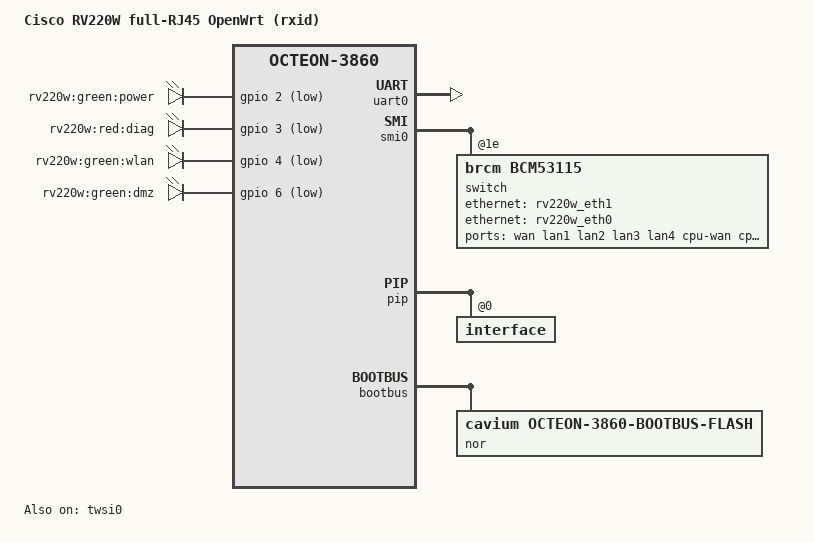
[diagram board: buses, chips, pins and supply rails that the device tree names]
// SPDX-License-Identifier: GPL-2.0-only
/*
 * Cisco RV220W production-oriented full-RJ45 device tree.
 *
 * Hardware-proven topology:
 *   BCM53115 port 0      -> WAN external PHY0
 *   BCM53115 port 5      -> Octeon eth1 WAN conduit
 *   BCM53115 ports 1-4   -> LAN1-LAN4
 *   BCM53115 port 8      -> Octeon eth0 LAN conduit
 *
 * The Octeon MAC-to-switch connections are board-internal fixed 1 Gbit/s
 * links.  External carrier remains reported by the DSA user-port PHYs.
 * The NOR child uses an Octeon-specific compatible so the architecture
 * driver, not generic physmap, derives the true base, size and width from
 * U-Boot's live BootBus chip-select register.
 */

/include/ "octeon_3xxx.dtsi"
#include <dt-bindings/gpio/gpio.h>
#include <dt-bindings/input/input.h>

/ {
	model = "Cisco RV220W full-RJ45 OpenWrt (rxid)";
	compatible = "cisco,rv220w", "cavium,octeon-3860";

	chosen { stdout-path = "serial0:115200n8"; };

	aliases {
		uart0 = &uart0;
		serial0 = &uart0;
		pip = &pip;
		smi0 = &smi0;
		twsi0 = &twsi0;
	};

	rv220w-leds {
		compatible = "gpio-leds";

		power {
			label = "rv220w:green:power";
			gpios = <&gpio 2 GPIO_ACTIVE_LOW>;
			default-state = "keep";
		};

		diag {
			label = "rv220w:red:diag";
			gpios = <&gpio 3 GPIO_ACTIVE_LOW>;
			default-state = "off";
		};

		wlan {
			label = "rv220w:green:wlan";
			gpios = <&gpio 4 GPIO_ACTIVE_LOW>;
			default-state = "off";
		};

		dmz {
			label = "rv220w:green:dmz";
			gpios = <&gpio 6 GPIO_ACTIVE_LOW>;
			default-state = "off";
		};
	};

	rv220w-reset-keys {
		compatible = "gpio-keys";
		status = "disabled";
		reset {
			label = "reset/recovery";
			linux,code = <KEY_RESTART>;
			gpios = <&gpio 1 GPIO_ACTIVE_LOW>;
			debounce-interval = <60>;
		};
	};

	/*
	 * BCM4322 calibration is read from the card's physical external SPROM.
	 * v1.14.13 hardware evidence proved that the legacy Broadcom driver reads
	 * every 16-bit SPROM word twice and retains the second transaction; the
	 * v1.14.14 RAM-only kernel patch mirrors that read sequence directly.
	 * No fallback-SPROM platform device is instantiated here.
	 */

};

&uart0 {
	clock-frequency = <400000000>;
	status = "okay";
};

&twsi0 { status = "okay"; };

&smi0 {
	status = "okay";

	switch@1e {
		compatible = "brcm,bcm53115";
		reg = <0x1e>;
		status = "okay";

		ethernet-ports {
			#address-cells = <1>;
			#size-cells = <0>;

			port@0 { reg = <0>; label = "wan"; };
			port@1 { reg = <1>; label = "lan1"; };
			port@2 { reg = <2>; label = "lan2"; };
			port@3 { reg = <3>; label = "lan3"; };
			port@4 { reg = <4>; label = "lan4"; };

			port@5 {
				reg = <5>;
				label = "cpu-wan";
				ethernet = <&rv220w_eth1>;
				phy-mode = "rgmii-rxid";

				fixed-link {
					speed = <1000>;
					full-duplex;
				};
			};

			port@8 {
				reg = <8>;
				label = "cpu-lan";
				ethernet = <&rv220w_eth0>;
				phy-mode = "rgmii-rxid";

				fixed-link {
					speed = <1000>;
					full-duplex;
				};
			};
		};
	};
};

&pip {
	status = "okay";

	interface@0 {
		status = "okay";

		rv220w_eth0: ethernet@0 {
			status = "okay";
			fixed-link {
				speed = <1000>;
				full-duplex;
			};
		};

		rv220w_eth1: ethernet@1 {
			status = "okay";
			fixed-link {
				speed = <1000>;
				full-duplex;
			};
		};

		ethernet@2 { status = "disabled"; };
	};
};

&usbn { status = "disabled"; };

&bootbus {
	status = "okay";
	/delete-node/ cavium,cs-config@0;
	/delete-node/ cavium,cs-config@4;
	/delete-node/ cavium,cs-config@5;
	/delete-node/ cavium,cs-config@6;
	/delete-node/ led-display@4,0;
	/delete-node/ compact-flash@5,0;

	/*
	 * Retain this child: it instantiates Octeon's BootBus-aware MTD driver.
	 * Do not add bank-width or replace it with a generic physmap mapping.
	 */
	nor@0,0 {
		compatible = "cavium,octeon-3860-bootbus-flash";
		status = "okay";
	};
};
